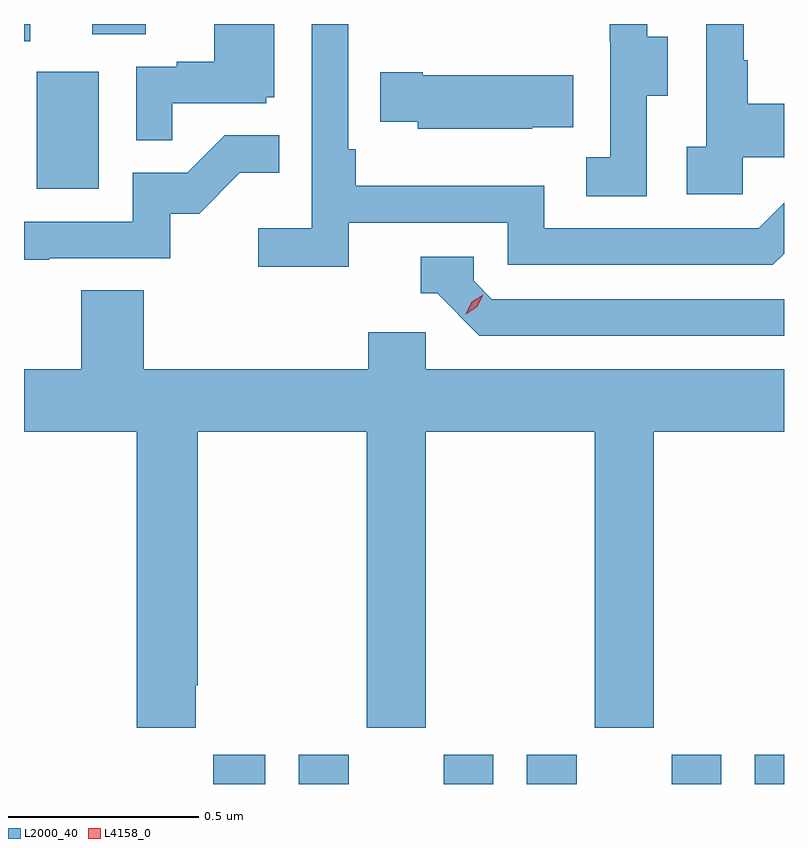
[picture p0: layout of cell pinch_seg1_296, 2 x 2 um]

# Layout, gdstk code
import gdstk
lib = gdstk.Library(unit=1e-6, precision=1e-09)
def R(c, l, rs):  # rectangles x0, y0, x1, y1
    for r in rs: c.add(gdstk.rectangle(r[:2], r[2:], *l))
def P(c, l, *ps):  # polygons
    for p in ps: c.add(gdstk.Polygon(p, *l))
L2000_40 = (2000, 40)
L4158_0 = (4158, 0)

pinch_seg1_296 = lib.new_cell('pinch_seg1_296')
R(pinch_seg1_296, L2000_40, [(897.275,548.141,897.412,548.218), (897.5,548.141,897.631,548.218), (897.881,548.141,898.012,548.218), (898.1,548.141,898.231,548.218), (898.481,548.141,898.612,548.218), (898.7,548.141,898.777,548.218), (896.81,549.708,896.974,550.015), (896.777,550.095,896.794,550.141), (896.957,550.114,897.097,550.141)])
P(pinch_seg1_296, L2000_40, [(898.416,549.952),(898.471,549.952),(898.471,550.107),(898.417,550.107),(898.417,550.141),(898.319,550.141),(898.319,550.095),(898.32,550.095),(898.32,549.791),(898.257,549.791),(898.257,549.688),(898.416,549.688)],
  [(897.167,549.933),(897.414,549.933),(897.414,549.948),(897.436,549.948),(897.436,550.141),(897.278,550.141),(897.278,550.042),(897.179,550.042),(897.179,550.029),(897.072,550.029),(897.072,549.835),(897.167,549.835)],
  [(898.668,549.791),(898.777,549.791),(898.777,549.931),(898.681,549.931),(898.681,550.046),(898.671,550.046),(898.671,550.141),(898.572,550.141),(898.572,549.818),(898.521,549.818),(898.521,549.693),(898.668,549.693)],
  [(897.632,549.618),(898.05,549.618),(898.05,549.507),(898.747,549.507),(898.777,549.537),(898.777,549.67),(898.71,549.603),(898.146,549.603),(898.146,549.715),(897.65,549.715),(897.65,549.811),(897.63,549.811),(897.63,550.141),(897.534,550.141),(897.534,549.604),(897.393,549.604),(897.393,549.502),(897.632,549.502)],
  [(898.115,549.869),(898.223,549.869),(898.223,550.006),(897.826,550.006),(897.826,550.014),(897.715,550.014),(897.715,549.884),(897.813,549.884),(897.813,549.866),(898.115,549.866)],
  [(896.843,549.525),(897.162,549.525),(897.162,549.642),(897.238,549.642),(897.345,549.749),(897.449,549.749),(897.449,549.848),(897.305,549.848),(897.207,549.75),(897.063,549.75),(897.063,549.621),(896.777,549.621),(896.777,549.52),(896.843,549.52)],
  [(898.777,549.417),(898.008,549.417),(897.96,549.465),(897.96,549.528),(897.821,549.528),(897.821,549.432),(897.864,549.432),(897.975,549.321),(898.777,549.321)],
  [(897.229,548.401),(897.234,548.401),(897.234,549.068),(897.679,549.068),(897.679,548.289),(897.834,548.289),(897.834,549.068),(898.279,549.068),(898.279,548.289),(898.434,548.289),(898.434,549.068),(898.777,549.068),(898.777,549.232),(897.834,549.232),(897.834,549.33),(897.683,549.33),(897.683,549.232),(897.092,549.232),(897.092,549.44),(896.927,549.44),(896.927,549.232),(896.777,549.232),(896.777,549.068),(897.074,549.068),(897.074,548.289),(897.229,548.289)])
P(pinch_seg1_296, L4158_0, [(897.94,549.377),(897.94,549.377),(897.955,549.41),(897.985,549.429),(897.986,549.429),(897.986,549.429),(897.97,549.397),(897.94,549.377)])

lib.write_gds('pinch_seg1_296.gds')
